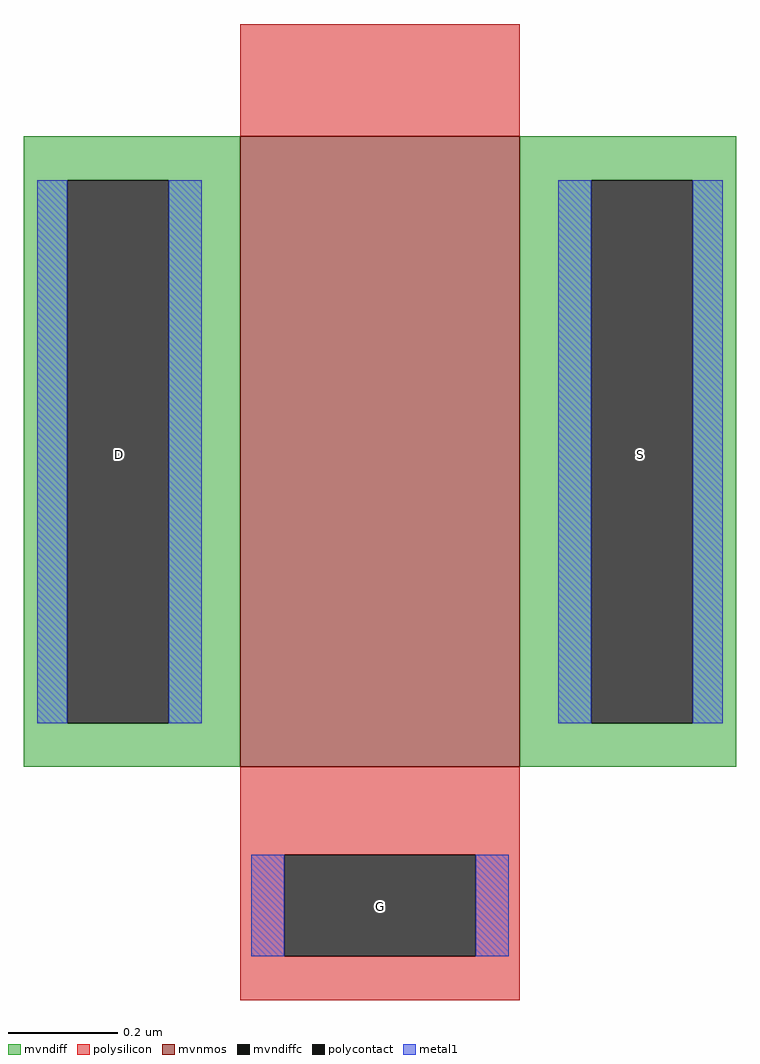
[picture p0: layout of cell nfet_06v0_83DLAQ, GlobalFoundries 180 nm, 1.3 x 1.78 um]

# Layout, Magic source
magic
tech gf180mcuD
magscale 1 10
<< mvnmos >>
rect -51 -93 51 137
<< mvndiff >>
rect -130 121 -51 137
rect -130 -77 -114 121
rect -77 -77 -51 121
rect -130 -93 -51 -77
rect 51 121 130 137
rect 51 -77 77 121
rect 114 -77 130 121
rect 51 -93 130 -77
<< mvndiffc >>
rect -114 -77 -77 121
rect 77 -77 114 121
<< polysilicon >>
rect -51 137 51 178
rect -51 -125 51 -93
rect -51 -162 -35 -125
rect 35 -162 51 -125
rect -51 -178 51 -162
<< polycontact >>
rect -35 -162 35 -125
<< metal1 >>
rect -125 -77 -114 121
rect -77 -77 -65 121
rect 65 -77 77 121
rect 114 -77 125 121
rect -47 -162 -35 -125
rect 35 -162 47 -125
<< labels >>
rlabel mvndiffc -95 21 -95 21 0 D
port 1 nsew
rlabel mvndiffc 95 21 95 21 0 S
port 2 nsew
rlabel polycontact 0 -144 0 -144 0 G
port 3 nsew
<< properties >>
string gencell nfet_05v0
string library gf180mcu
string parameters w 1.0 l 0.45 m 1 ng 1 diffcov 100 polycov 100 guard 0 glc 1 grc 1 gtc 1 gbc 1 tbcov 100 rlcov 100 topc 0 botc 1 poverlap 0 doverlap 1 lmin 0.45 wmin 0.15 class mosfet compatible {nfet_05v0 nfet_06v0} full_metal 1 conn_gates 0 gate_ring 0 doports 1 viasrc 0 viadrn 0 viagate 0 ccols 1 viagb 0 viagr 0 viagl 0 viagt 0
<< end >>
